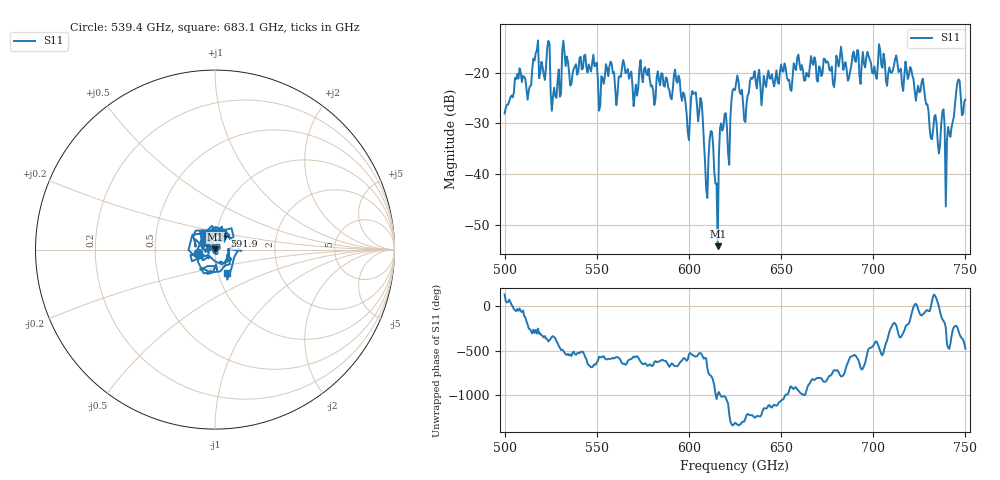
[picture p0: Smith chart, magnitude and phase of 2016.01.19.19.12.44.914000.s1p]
!Created with skrf (http://scikit-rf.org).
# GHz S RI R 50.0
!freq ReS11 ImS11
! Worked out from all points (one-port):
!   401 points, 500 GHz to 750 GHz, reference 50 ohm
!   lowest |S11| = -54.3 dB at 615.6 GHz (marker M1), VSWR 1.00, Z = 50 + j0.191 ohm
!   |S11| at or under -10 dB: start of sweep to end of sweep
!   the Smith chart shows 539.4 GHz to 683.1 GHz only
!   S11 on the Smith chart (normalised r, x): 539.4 GHz: 0.83, -0.03; 591.9 GHz: 1.10, +0.17; 683.1 GHz: 1.10, -0.29
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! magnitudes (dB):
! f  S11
! 500 GHz  -28.0
! 513.1 GHz  -23.5
! 516.9 GHz  -16.1
! 523.8 GHz  -13.7
! 526.9 GHz  -22.9
! 531.2 GHz  -15.6
! 539.4 GHz  -20.4
! 562.5 GHz  -20.7
! 591.9 GHz  -20.5
! 593.8 GHz  -22.0
! 599.4 GHz  -31.8
! 603.1 GHz  -24.0
! 606.9 GHz  -25.7
! 609.4 GHz  -43.0
! 611.9 GHz  -31.5
! 615.6 GHz  -54.3
! 618.1 GHz  -31.4
! 621.9 GHz  -38.2
! 625 GHz  -23.4
! 630.6 GHz  -29.7
! 634.4 GHz  -21.2
! 656.2 GHz  -20.8
! 683.1 GHz  -16.7
! 687.5 GHz  -19.7
! 718.8 GHz  -21.2
! 740.6 GHz  -30.7
! 745.6 GHz  -22.0
! 750 GHz  -25.3
